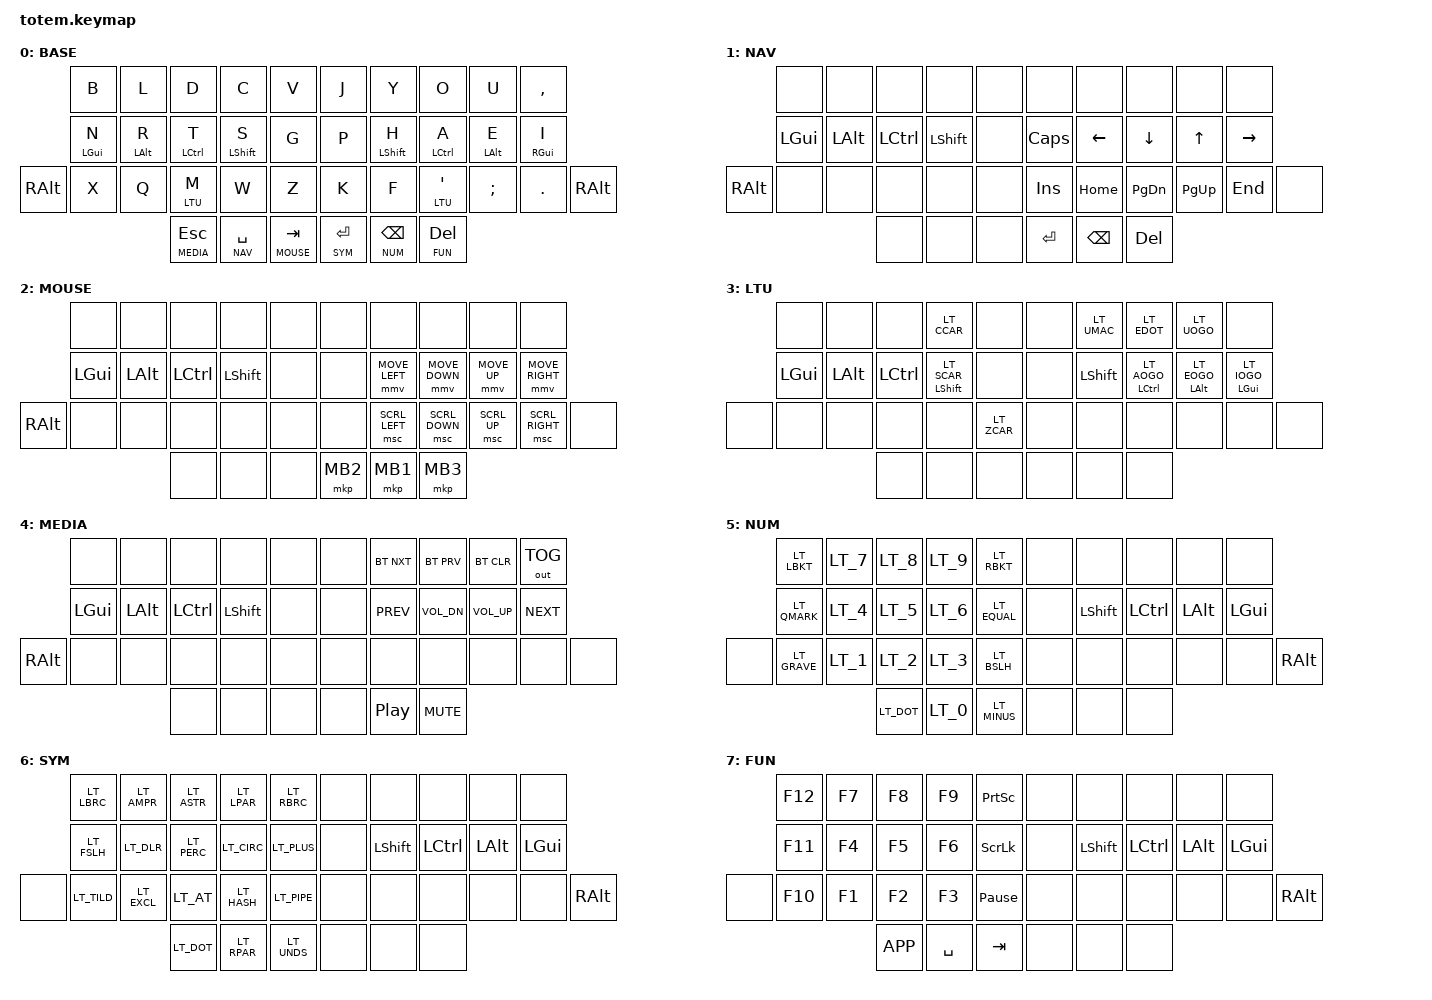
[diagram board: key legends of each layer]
//
//                                                        ▀▀▀▀▀     ▀▀▀▀▀          ▀▀█▀▀
//                                                        ▄▀▀▀▄  ▄  ▄▀▀▀▄  ▄  ▄▀▀▀▄  █  ▄▀▀▀▄
//                                                        █   █  █  █   █  █  █   █  █  █   █
//                                                         ▀▀▀   █   ▀▀▀   █   ▀▀▀   ▀   ▀▀▀
//                                                               █      ▄▄▄█▄▄▄    █   █
//                                                               ▀      █  █  █     █▄█
//                                                             ▀▀▀▀▀    █  █  █      ▀
//                                                                      ▀  ▀  ▀
//
// ▄▄▄▄▄▄▄▄▄▄▄▄▄▄▄▄▄▄▄▄▄▄▄▄▄▄▄▄▄▄▄▄▄▄▄▄▄▄▄▄▄▄▄▄▄▄▄▄▄▄▄▄▄▄▄▄▄▄▄▄▄▄▄▄▄▄▄▄▄▄▄▄▄▄▄▄▄▄▄▄▄▄▄▄▄▄▄▄▄▄▄▄▄▄▄▄▄▄▄▄▄▄▄▄▄▄▄▄▄▄▄▄▄▄▄▄▄▄▄▄▄▄▄▄▄▄▄▄▄▄▄▄▄▄▄▄▄▄▄▄▄▄▄▄▄▄▄▄▄


#include <behaviors.dtsi>
#include <dt-bindings/zmk/keys.h>
#include <dt-bindings/zmk/bt.h>
#include <dt-bindings/zmk/outputs.h>

#define ZMK_POINTING_DEFAULT_MOVE_VAL 1250
#define ZMK_POINTING_DEFAULT_SCRL_VAL 100

#include <dt-bindings/zmk/pointing.h>

#include "keys_lt.h"

#define BASE 0
#define NAV  1
#define MOUSE 2
#define LTU 3
#define MEDIA 4
#define NUM 5
#define SYM 6
#define FUN 7

&mt {
  quick-tap-ms = <100>;
  global-quick-tap;
  flavor = "tap-preferred";
  tapping-term-ms = <200>;
};
&mmv {
  acceleration-exponent = <1>;
  time-to-max-speed-ms = <1500>;
  delay-ms = <0>;
};
&msc {
  acceleration-exponent = <1>;
  time-to-max-speed-ms = <5000>;
  delay-ms = <0>;
};

/ {
        keymap {
                compatible = "zmk,keymap";
                base_layer {
                        label= "BASE";
                        bindings = <
                                         &kp B      &kp L      &kp D         &kp C         &kp V         &kp J       &kp Y        &kp O           &kp U      &kp COMMA
                                         &mt LGUI N &mt LALT R &mt LCTRL T   &mt LSHFT S   &kp G         &kp P       &mt LSHFT H  &mt LCTRL A     &mt LALT E &mt RGUI I
                                &kp RALT &kp X      &kp Q      &lt LTU M     &kp W         &kp Z         &kp K       &kp F        &lt LTU SQT     &kp SEMI   &kp DOT    &kp RALT
                                                               &lt MEDIA ESC &lt NAV SPACE &lt MOUSE TAB &lt SYM RET &lt NUM BSPC &lt FUN DEL
                        >;
                };
                nav_layer {
                        label= "NAV";
                        bindings = <
                                         &none    &none    &none     &none     &none &none    &none    &none     &none     &none
                                         &kp LGUI &kp LALT &kp LCTRL &kp LSHFT &none &kp CAPS &kp LEFT &kp DOWN  &kp UP    &kp RIGHT
                                &kp RALT &none    &none    &none     &none     &none &kp INS  &kp HOME &kp PG_DN &kp PG_UP &kp END   &none
                                                           &none     &none     &none &kp RET  &kp BSPC &kp DEL
                        >;
                };
                mouse_layer {
                        label= "MOUSE";
                        bindings = <
                                         &none    &none    &none     &none     &none &none    &none          &none          &none        &none
                                         &kp LGUI &kp LALT &kp LCTRL &kp LSHFT &none &none    &mmv MOVE_LEFT &mmv MOVE_DOWN &mmv MOVE_UP &mmv MOVE_RIGHT
                                &kp RALT &none    &none    &none     &none     &none &none    &msc SCRL_LEFT &msc SCRL_DOWN &msc SCRL_UP &msc SCRL_RIGHT   &none
                                                           &none     &none     &none &mkp MB2 &mkp MB1       &mkp MB3
                        >;
                };
                ltu_layer {
                        label= "LTU";
                        bindings = <
                                      &none    &none    &none     &kp LT_CCAR       &none       &none       &kp LT_UMAC &kp LT_EDOT       &kp LT_UOGO      &none
                                      &kp LGUI &kp LALT &kp LCTRL &mt LSHFT LT_SCAR &none       &none       &kp LSHFT   &mt LCTRL LT_AOGO &mt LALT LT_EOGO &mt LGUI LT_IOGO
                                &none &none    &none    &none     &none             &kp LT_ZCAR &none       &none       &none             &none            &none            &none
                                                        &none     &none             &none       &none       &none       &none
                        >;
                };
                media_layer {
                        label= "MEDIA";
                        bindings = <
                                         &none    &none    &none     &none     &none &none &bt BT_NXT &bt BT_PRV   &bt BT_CLR   &out OUT_TOG
                                         &kp LGUI &kp LALT &kp LCTRL &kp LSHFT &none &none &kp C_PREV &kp C_VOL_DN &kp C_VOL_UP &kp C_NEXT
                                &kp RALT &none    &none    &none     &none     &none &none &none      &none        &none        &none        &none
                                                           &none     &none     &none &none &kp C_PP   &kp C_MUTE
                        >;
                };
                num_layer {
                        label= "NUM";
                        bindings = <
                                      &kp LT_LBKT  &kp LT_7 &kp LT_8   &kp LT_9 &kp LT_RBKT  &none &none     &none     &none    &none
                                      &kp LT_QMARK &kp LT_4 &kp LT_5   &kp LT_6 &kp LT_EQUAL &none &kp LSHFT &kp LCTRL &kp LALT &kp LGUI
                                &none &kp LT_GRAVE &kp LT_1 &kp LT_2   &kp LT_3 &kp LT_BSLH  &none &none     &none     &none    &none    &kp RALT
                                                            &kp LT_DOT &kp LT_0 &kp LT_MINUS &none &none     &none
                        >;
                };
                sym_layer {
                        label= "SYM";
                        bindings = <
                                      &kp LT_LBRC &kp LT_AMPR &kp LT_ASTR &kp LT_LPAR &kp LT_RBRC &none &none     &none     &none    &none
                                      &kp LT_FSLH &kp LT_DLR  &kp LT_PERC &kp LT_CIRC &kp LT_PLUS &none &kp LSHFT &kp LCTRL &kp LALT &kp LGUI
                                &none &kp LT_TILD &kp LT_EXCL &kp LT_AT   &kp LT_HASH &kp LT_PIPE &none &none     &none     &none    &none    &kp RALT
                                                              &kp LT_DOT  &kp LT_RPAR &kp LT_UNDS &none &none     &none
                        >;
                };
                fun_layer {
                        label= "FUN";
                        bindings = <
                                       &kp F12 &kp F7 &kp F8    &kp F9    &kp PSCRN       &none &none     &none     &none    &none
                                       &kp F11 &kp F4 &kp F5    &kp F6    &kp SLCK        &none &kp LSHFT &kp LCTRL &kp LALT &kp LGUI
                                &none  &kp F10 &kp F1 &kp F2    &kp F3    &kp PAUSE_BREAK &none &none     &none     &none    &none    &kp RALT
                                                      &kp K_APP &kp SPACE &kp TAB         &none &none     &none
                        >;
                };
        };
};
